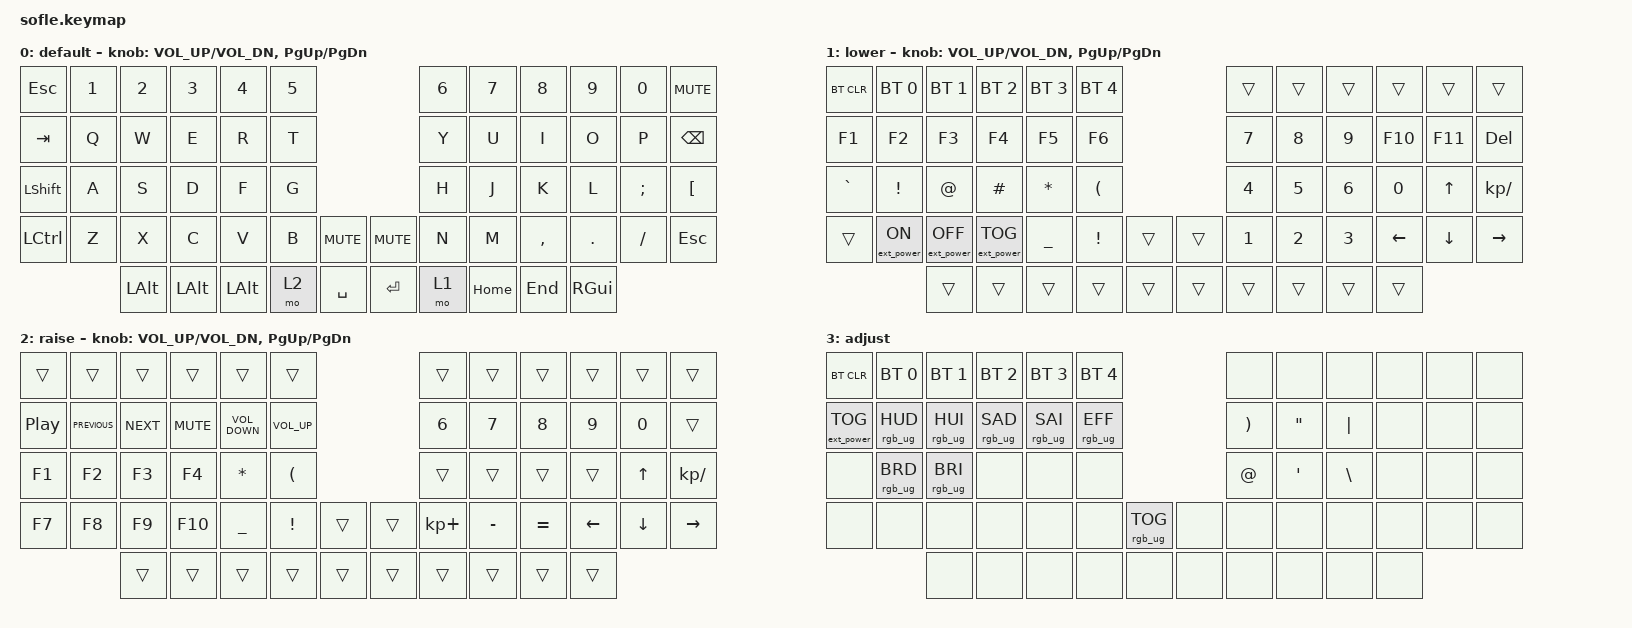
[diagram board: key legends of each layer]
#include <behaviors.dtsi>
#include <dt-bindings/zmk/keys.h>
#include <dt-bindings/zmk/bt.h>
#include <dt-bindings/zmk/rgb.h>
#include <dt-bindings/zmk/ext_power.h>

/ {
    keymap {
        compatible = "zmk,keymap";

        default_layer {
            display-name = "default";
            bindings = <
&kp ESC   &kp N1 &kp N2   &kp N3   &kp N4    &kp N5                        &kp N6 &kp N7    &kp N8    &kp N9   &kp N0   &kp C_MUTE
&kp TAB   &kp Q  &kp W    &kp E    &kp R     &kp T                         &kp Y  &kp U     &kp I     &kp O    &kp P    &kp BACKSPACE
&kp LSHFT &kp A  &kp S    &kp D    &kp F     &kp G                         &kp H  &kp J     &kp K     &kp L    &kp SEMI &kp LBKT
&kp LCTRL &kp Z  &kp X    &kp C    &kp V     &kp B &kp C_MUTE  &kp C_MUTE  &kp N  &kp M     &kp COMMA &kp DOT  &kp FSLH &kp ESC
                 &kp LALT &kp LALT &kp LALT &mo 2  &kp SPACE   &kp RET     &mo 1  &kp HOME &kp END  &kp RGUI
            >;
            sensor-bindings = <&inc_dec_kp C_VOL_UP C_VOL_DN &inc_dec_kp PG_UP PG_DN>;
        };

        lower_layer {
            display-name = "lower";
            bindings = <
&bt BT_CLR  &bt BT_SEL 0      &bt BT_SEL 1       &bt BT_SEL 2       &bt BT_SEL 3  &bt BT_SEL 4                            &trans        &trans  &trans        &trans    &trans        &trans
&kp F1      &kp F2            &kp F3             &kp F4             &kp F5        &kp F6                                  &kp NUMBER_7  &kp N8  &kp N9        &kp F10   &kp F11       &kp DELETE
&kp GRAVE   &kp EXCL          &kp AT             &kp HASH           &kp ASTRK     &kp LEFT_PARENTHESIS                    &kp NUMBER_4  &kp N5  &kp NUMBER_6  &kp N0    &kp UP_ARROW  &kp KP_DIVIDE
&trans      &ext_power EP_ON  &ext_power EP_OFF  &ext_power EP_TOG  &kp UNDER     &kp EXCL              &trans    &trans  &kp N1        &kp N2  &kp N3        &kp LEFT  &kp DOWN      &kp RIGHT
                    &trans    &trans      &trans    &trans     &trans &trans  &trans    &trans   &trans    &trans
            >;
            sensor-bindings = <&inc_dec_kp C_VOL_UP C_VOL_DN &inc_dec_kp PG_UP PG_DN>;
        };

        raise_layer {
            display-name = "raise";
            bindings = <
&trans            &trans          &trans      &trans      &trans             &trans                                  &trans       &trans     &trans     &trans    &trans        &trans
&kp C_PLAY_PAUSE  &kp C_PREVIOUS  &kp C_NEXT  &kp C_MUTE  &kp C_VOLUME_DOWN  &kp C_VOL_UP                            &kp N6       &kp N7     &kp N8     &kp N9    &kp N0        &trans
&kp F1            &kp F2          &kp F3      &kp F4      &kp ASTRK          &kp LEFT_PARENTHESIS                    &trans       &trans     &trans     &trans    &kp UP_ARROW  &kp KP_DIVIDE
&kp F7            &kp F8          &kp F9      &kp F10     &kp UNDER          &kp EXCL              &trans    &trans  &kp KP_PLUS  &kp MINUS  &kp EQUAL  &kp LEFT  &kp DOWN      &kp RIGHT
                        &trans       &trans       &trans       &trans        &trans  &trans  &trans    &trans    &trans   &trans
            >;
            sensor-bindings = <&inc_dec_kp C_VOL_UP C_VOL_DN &inc_dec_kp PG_UP PG_DN>;
        };

        adjust_layer {
            display-name = "adjust";
            bindings = <
&bt BT_CLR        &bt BT_SEL 0    &bt BT_SEL 1    &bt BT_SEL 2    &bt BT_SEL 3    &bt BT_SEL 4                            &none &none &none &none &none &none
&ext_power EP_TOG &rgb_ug RGB_HUD &rgb_ug RGB_HUI &rgb_ug RGB_SAD &rgb_ug RGB_SAI &rgb_ug RGB_EFF                         &kp RIGHT_PARENTHESIS  &kp DOUBLE_QUOTES &kp PIPE &none &none &none
&none             &rgb_ug RGB_BRD &rgb_ug RGB_BRI &none           &none           &none                                   &kp AT                 &kp SINGLE_QUOTE  &kp BSLH &none &none &none
&none             &none           &none           &none           &none           &none            &rgb_ug RGB_TOG &none  &none &none &none &none &none &none
                                  &none           &none           &none           &none            &none           &none  &none &none &none &none
            >;
        };

    };
    conditional_layers {
        compatible = "zmk,conditional-layers";
        a3rdLayer {
            if-layers = <1 2>;
            then-layer = <3>;
        };
    };
};
